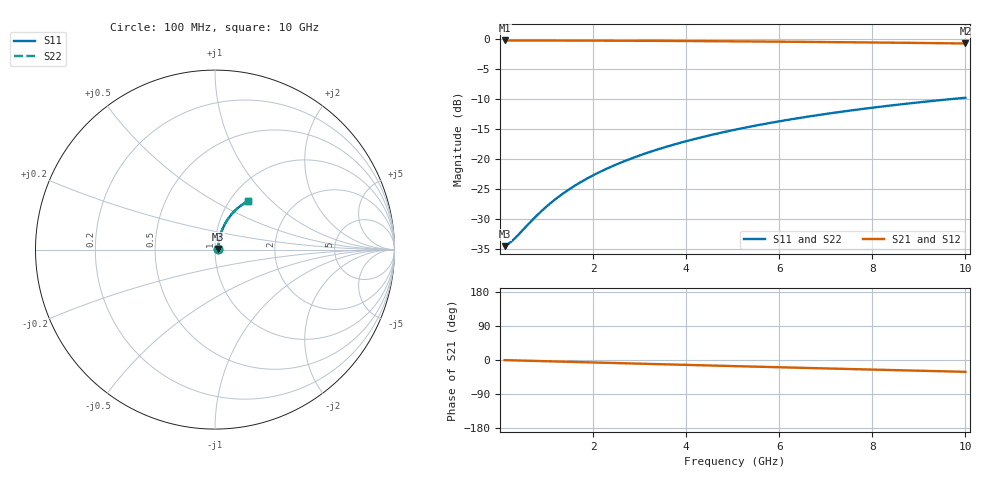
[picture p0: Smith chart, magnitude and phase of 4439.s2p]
# Hz S RI R 50.00
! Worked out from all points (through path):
!   100 points, 100 MHz to 10 GHz, reference 50 ohm
!   highest |S21| = -0.16 dB at 100 MHz (marker M1); lowest = -0.7 dB at 10 GHz (marker M2)
!   group delay of S21, straight-line fit = 8.69 ps
!   lowest |S11| = -34.5 dB at 100 MHz (marker M3), VSWR 1.04, Z = 51.9 + j0.36 ohm
!   |S11| at or under -10 dB: start of sweep to 9.614 GHz
!   |S22| runs from -34.5 to -9.7 dB; largest |S21 - S12| = 0
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1e8  0.0186 0.00346  0.9814 -0.00555  0.9814 -0.00555  0.0186 0.00346
2e8  0.0188 0.00692  0.9812 -0.0111  0.9812 -0.0111  0.0188 0.00692
3e8  0.0189 0.0104  0.981 -0.0166  0.981 -0.0166  0.0189 0.0104
8e8  0.0203 0.0276  0.9795 -0.0443  0.9795 -0.0443  0.0203 0.0276
9e8  0.0207 0.0311  0.9791 -0.0499  0.9791 -0.0499  0.0207 0.0311
1.1e9  0.0215 0.0379  0.9782 -0.0609  0.9782 -0.0609  0.0215 0.0379
1.4e9  0.0231 0.0482  0.9765 -0.0774  0.9765 -0.0774  0.0231 0.0482
1.6e9  0.0243 0.0549  0.9751 -0.0884  0.9751 -0.0884  0.0243 0.0549
1.8e9  0.0257 0.0617  0.9736 -0.0993  0.9736 -0.0993  0.0257 0.0617
2.1e9  0.028 0.0718  0.971 -0.1156  0.971 -0.1156  0.028 0.0718
2.5e9  0.0316 0.085  0.9669 -0.1372  0.9669 -0.1372  0.0316 0.085
2.9e9  0.0358 0.098  0.9623 -0.1586  0.9623 -0.1586  0.0358 0.098
3.4e9  0.0419 0.114  0.9555 -0.185  0.9555 -0.185  0.0419 0.114
3.8e9  0.0473 0.1265  0.9494 -0.2059  0.9494 -0.2059  0.0473 0.1265
4.2e9  0.0533 0.1387  0.9428 -0.2264  0.9428 -0.2264  0.0533 0.1387
4.6e9  0.0597 0.1505  0.9355 -0.2467  0.9355 -0.2467  0.0597 0.1505
5.1e9  0.0685 0.1648  0.9257 -0.2715  0.9257 -0.2715  0.0685 0.1648
5.9e9  0.084 0.1865  0.9082 -0.3099  0.9082 -0.3099  0.084 0.1865
6.7e9  0.1011 0.2065  0.8888 -0.3468  0.8888 -0.3468  0.1011 0.2065
7.5e9  0.1197 0.2248  0.8676 -0.3819  0.8676 -0.3819  0.1197 0.2248
8.4e9  0.1421 0.2431  0.842 -0.4193  0.842 -0.4193  0.1421 0.2431
1e10  0.1848 0.2696  0.7926 -0.4798  0.7926 -0.4798  0.1848 0.2696
